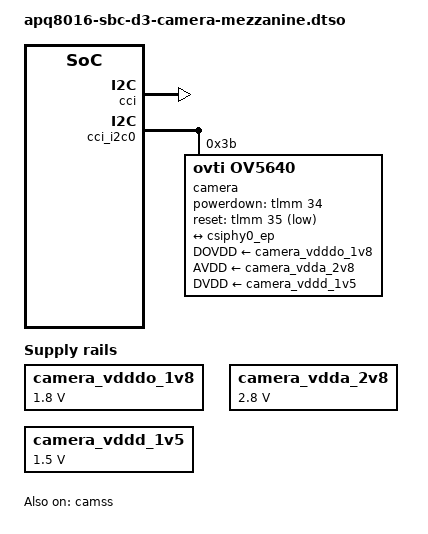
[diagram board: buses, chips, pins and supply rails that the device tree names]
// SPDX-License-Identifier: GPL-2.0-only
/*
 * Copyright (c) 2015, The Linux Foundation. All rights reserved.
 * Copyright (c) 2023, Linaro Ltd.
 */

/dts-v1/;
/plugin/;

#include <dt-bindings/clock/qcom,gcc-msm8916.h>
#include <dt-bindings/gpio/gpio.h>

&{/} {
	camera_vdddo_1v8: regulator-camera-vdddo {
		compatible = "regulator-fixed";
		regulator-name = "camera_vdddo";
		regulator-min-microvolt = <1800000>;
		regulator-max-microvolt = <1800000>;
		regulator-always-on;
	};

	camera_vdda_2v8: regulator-camera-vdda {
		compatible = "regulator-fixed";
		regulator-name = "camera_vdda";
		regulator-min-microvolt = <2800000>;
		regulator-max-microvolt = <2800000>;
		regulator-always-on;
	};

	camera_vddd_1v5: regulator-camera-vddd {
		compatible = "regulator-fixed";
		regulator-name = "camera_vddd";
		regulator-min-microvolt = <1500000>;
		regulator-max-microvolt = <1500000>;
		regulator-always-on;
	};
};

&camss {
	status = "okay";

	ports {
		#address-cells = <1>;
		#size-cells = <0>;

		port@0 {
			reg = <0>;
			csiphy0_ep: endpoint {
				data-lanes = <0 2>;
				remote-endpoint = <&ov5640_ep>;
			};
		};
	};
};

&cci {
	status = "okay";
};

&cci_i2c0 {
	#address-cells = <1>;
	#size-cells = <0>;

	camera@3b {
		compatible = "ovti,ov5640";
		reg = <0x3b>;

		powerdown-gpios = <&tlmm 34 GPIO_ACTIVE_HIGH>;
		reset-gpios = <&tlmm 35 GPIO_ACTIVE_LOW>;
		pinctrl-names = "default";
		pinctrl-0 = <&camera_rear_default>;

		clocks = <&gcc GCC_CAMSS_MCLK0_CLK>;
		clock-names = "xclk";
		assigned-clocks = <&gcc GCC_CAMSS_MCLK0_CLK>;
		assigned-clock-rates = <23880000>;

		DOVDD-supply = <&camera_vdddo_1v8>;
		AVDD-supply = <&camera_vdda_2v8>;
		DVDD-supply = <&camera_vddd_1v5>;

		port {
			ov5640_ep: endpoint {
				data-lanes = <1 2>;
				remote-endpoint = <&csiphy0_ep>;
			};
		};
	};
};
